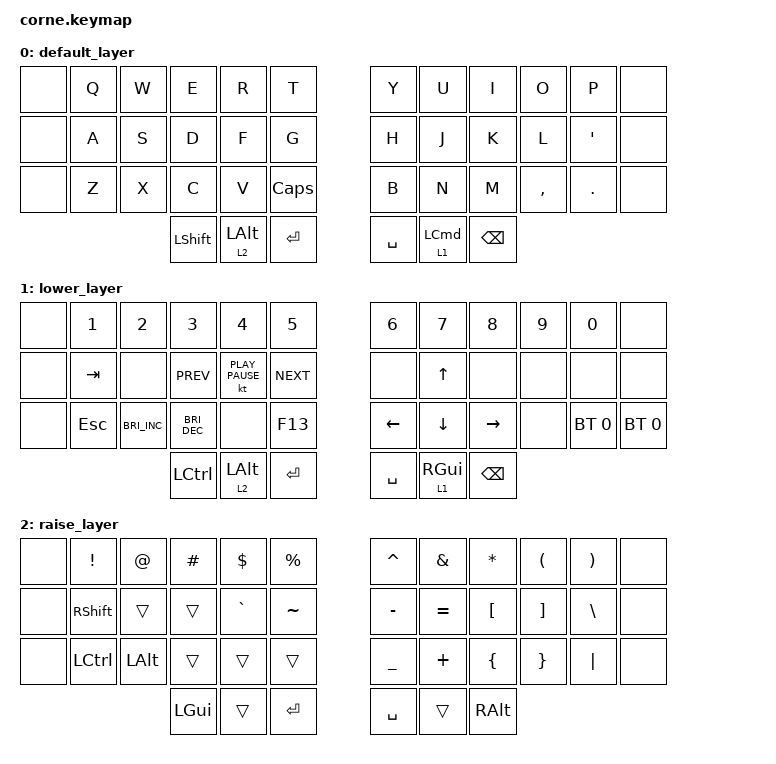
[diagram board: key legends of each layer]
/*
 * Copyright (c) 2020 The ZMK Contributors
 *
 * SPDX-License-Identifier: MIT
 */

#include <behaviors.dtsi>
#include <dt-bindings/zmk/bt.h>
#include <dt-bindings/zmk/keys.h>
#include <dt-bindings/zmk/keys.h>

/ {
    behaviors {
        layer1command: layer1command {
            compatible = "zmk,behavior-hold-tap";
            label = "LAYER1COMMAND";
            #binding-cells = <2>;
            hold-trigger-key-positions = <40>;
            tapping-term-ms = <300>;
            bindings = <&tog>, <&kp>;

            quick-tap-ms = <150>;
        };

        layer2option: layer2option {
            compatible = "zmk,behavior-hold-tap";
            label = "LAYER2OPTION";
            bindings = <&tog>, <&kp>;

            #binding-cells = <2>;
            hold-trigger-key-positions = <37>;
            tapping-term-ms = <300>;
            quick-tap-ms = <150>;
        };

        esc: esc {
            compatible = "zmk,behavior-hold-tap";
            label = "ESC";
            bindings = <&kp>, <&kp>;

            #binding-cells = <2>;
            tapping-term-ms = <300>;
            hold-trigger-key-positions = <1>;
            quick-tap-ms = <150>;
        };
    };

    combos {
        compatible = "zmk,combos";

        bluetooth {
            bindings = <&none>;
            key-positions = <38 39>;
        };
    };

    keymap {
        compatible = "zmk,keymap";

        default_layer {
            // -----------------------------------------------------------------------------------------
            // |  TAB |  Q  |  W  |  E  |  R  |  T  |   |  Y  |  U   |  I  |  O  |  P  | BSPC |
            // | CTRL |  A  |  S  |  D  |  F  |  G  |   |  H  |  J   |  K  |  L  |  ;  |  '   |
            // | SHFT |  Z  |  X  |  C  |  V  |  B  |   |  N  |  M   |  ,  |  .  |  /  | ESC  |
            //                    | GUI | LWR | SPC |   | ENT | RSE  | ALT |

            bindings = <
&none  &kp Q  &kp W  &kp E      &kp R                     &kp T       &kp Y      &kp U                          &kp I     &kp O      &kp P       &none
&none  &kp A  &kp S  &kp D      &kp F                     &kp G       &kp H      &kp J                          &kp K     &kp L      &kp SQT     &none
&none  &kp Z  &kp X  &kp C      &kp V                     &kp CAPS    &kp B      &kp N                          &kp M     &kp COMMA  &kp PERIOD  &none
                     &kp LSHFT  &layer2option 2 LEFT_ALT  &kp RET     &kp SPACE  &layer1command 1 LEFT_COMMAND  &kp BSPC
            >;
        };

        lower_layer {
            // -----------------------------------------------------------------------------------------
            // |  TAB |  1  |  2  |  3  |  4  |  5  |   |  6  |  7  |  8  |  9  |  0  | BSPC |
            // | BTCLR| BT1 | BT2 | BT3 | BT4 | BT5 |   | LFT | DWN |  UP | RGT |     |      |
            // | SHFT |     |     |     |     |     |   |     |     |     |     |     |      |
            //                    | GUI |     | SPC |   | ENT |     | ALT |

            bindings = <
&none  &kp N1      &kp N2                &kp N3                &kp N4                    &kp N5        &kp N6     &kp N7                      &kp N8     &kp N9  &kp N0        &none
&none  &kp TAB     &none                 &kp K_PREV            &kt K_PLAY_PAUSE          &kp C_NEXT    &none      &kp UP                      &none      &none   &none         &none
&none  &kp ESCAPE  &kp C_BRIGHTNESS_INC  &kp C_BRIGHTNESS_DEC  &none                     &kp F13       &kp LEFT   &kp DOWN                    &kp RIGHT  &none   &bt BT_SEL 0  &bt BT_SEL 0
                                         &kp LCTRL             &layer2option 2 LEFT_ALT  &kp RET       &kp SPACE  &layer1command 1 RIGHT_GUI  &kp BSPC
            >;
        };

        raise_layer {
            // -----------------------------------------------------------------------------------------
            // |  TAB |  !  |  @  |  #  |  $  |  %  |   |  ^  |  &  |  *  |  (  |  )  | BSPC |
            // | CTRL |     |     |     |     |     |   |  -  |  =  |  [  |  ]  |  \  |  `   |
            // | SHFT |     |     |     |     |     |   |  _  |  +  |  {  |  }  | "|" |  ~   |
            //                    | GUI |     | SPC |   | ENT |     | ALT |

            bindings = <
&none  &kp EXCL          &kp AT        &kp HASH  &kp DLLR   &kp PRCNT    &kp CARET  &kp AMPS   &kp ASTRK  &kp LPAR  &kp RPAR  &none
&none  &kp RSHIFT        &trans        &trans    &kp GRAVE  &kp TILDE    &kp MINUS  &kp EQUAL  &kp LBKT   &kp RBKT  &kp BSLH  &none
&none  &kp LEFT_CONTROL  &kp LEFT_ALT  &trans    &trans     &trans       &kp UNDER  &kp PLUS   &kp LBRC   &kp RBRC  &kp PIPE  &none
                                       &kp LGUI  &trans     &kp ENTER    &kp SPACE  &trans     &kp RALT
            >;
        };
    };
};
